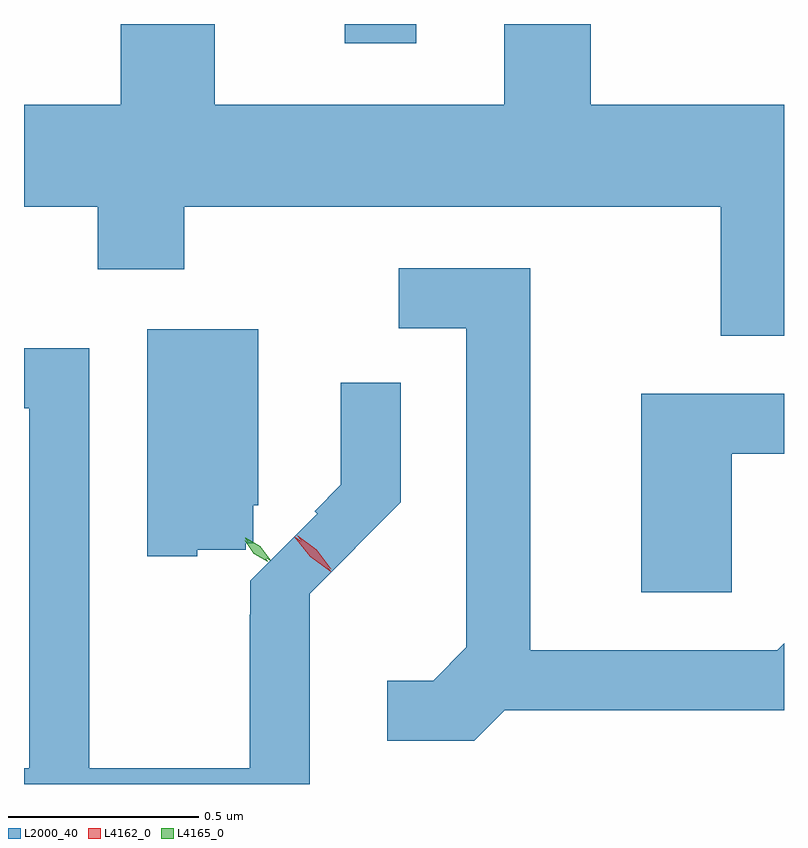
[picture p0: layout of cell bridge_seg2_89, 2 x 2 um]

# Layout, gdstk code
import gdstk
lib = gdstk.Library(unit=1e-6, precision=1e-09)
def R(c, l, rs):  # rectangles x0, y0, x1, y1
    for r in rs: c.add(gdstk.rectangle(r[:2], r[2:], *l))
def P(c, l, *ps):  # polygons
    for p in ps: c.add(gdstk.Polygon(p, *l))
L2000_40 = (2000, 40)
L4162_0 = (4162, 0)
L4165_0 = (4165, 0)

bridge_seg2_89 = lib.new_cell('bridge_seg2_89')
R(bridge_seg2_89, L2000_40, [(1222.151,1077.606,1222.339,1077.657), (1223.031,1077.656,1223.259,1077.657)])
P(bridge_seg2_89, L2000_40, [(1223.307,1077.444),(1222.799,1077.444),(1222.799,1077.657),(1222.571,1077.657),(1222.571,1077.444),(1221.809,1077.444),(1221.809,1077.657),(1221.561,1077.657),(1221.561,1077.444),(1221.307,1077.444),(1221.307,1077.176),(1221.501,1077.176),(1221.501,1077.011),(1221.729,1077.011),(1221.729,1077.176),(1223.141,1077.176),(1223.141,1076.836),(1223.307,1076.836)],
  [(1222.572,1075.851),(1223.307,1075.851),(1223.307,1076.027),(1223.289,1076.009),(1222.639,1076.009),(1222.639,1077.014),(1222.293,1077.014),(1222.293,1076.856),(1222.471,1076.856),(1222.471,1076.017),(1222.384,1075.929),(1222.263,1075.929),(1222.263,1075.771),(1222.492,1075.771)],
  [(1221.763,1076.273),(1221.89,1076.273),(1221.89,1076.29),(1221.91,1076.29),(1221.91,1076.39),(1221.923,1076.39),(1221.923,1076.49),(1221.924,1076.49),(1221.924,1076.854),(1221.631,1076.854),(1221.631,1076.256),(1221.763,1076.256)],
  [(1222.059,1076.158),(1222.299,1076.398),(1222.299,1076.713),(1222.141,1076.713),(1222.141,1076.445),(1222.072,1076.375),(1222.079,1076.368),(1221.902,1076.192),(1221.902,1076.103),(1221.901,1076.103),(1221.901,1075.699),(1221.479,1075.699),(1221.479,1076.804),(1221.307,1076.804),(1221.307,1076.646),(1221.321,1076.646),(1221.321,1075.699),(1221.307,1075.699),(1221.307,1075.657),(1222.059,1075.657)],
  [(1223.169,1076.526),(1223.307,1076.526),(1223.307,1076.684),(1222.931,1076.684),(1222.931,1076.161),(1223.169,1076.161)])
P(bridge_seg2_89, L4162_0, [(1222.114,1076.216),(1222.06,1076.255),(1222.018,1076.308),(1222.018,1076.308),(1222.019,1076.308),(1222.073,1076.269),(1222.115,1076.216),(1222.115,1076.216)],
  [(1222.115,1076.222),(1222.064,1076.26),(1222.026,1076.311),(1222.026,1076.312),(1222.026,1076.312),(1222.078,1076.274),(1222.116,1076.222),(1222.116,1076.222)])
P(bridge_seg2_89, L4165_0, [(1221.954,1076.246),(1221.916,1076.268),(1221.889,1076.304),(1221.889,1076.305),(1221.89,1076.305),(1221.929,1076.283),(1221.955,1076.247),(1221.955,1076.246)],
  [(1221.948,1076.242),(1221.911,1076.263),(1221.888,1076.298),(1221.888,1076.298),(1221.888,1076.298),(1221.925,1076.277),(1221.948,1076.243),(1221.948,1076.242)])

lib.write_gds('bridge_seg2_89.gds')
